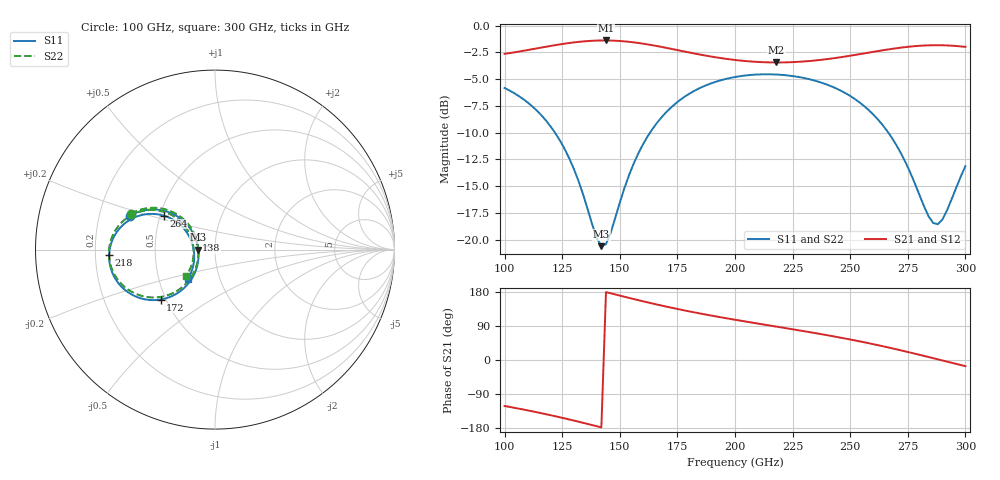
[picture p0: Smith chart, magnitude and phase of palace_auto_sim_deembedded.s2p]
! Created with skrf 1.11.0 (http://scikit-rf.org).
# GHz S DB R 50.0
!freq dBS11 angS11 dBS21 angS21 dBS12 angS12 dBS22 angS22
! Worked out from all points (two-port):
!   101 points, 100 GHz to 300 GHz, reference 50 ohm
!   highest |S21| = -1.39 dB at 144 GHz (marker M1); lowest = -3.4 dB at 218 GHz (marker M2)
!   |S21| within 3 dB of the highest: start of sweep to end of sweep
!   lowest |S11| = -20.6 dB at 142 GHz (marker M3), VSWR 1.21, Z = 41.5 + j0.0376 ohm
!   |S11| at or under -10 dB: 121.8 GHz to 163.2 GHz (41.31 GHz wide, 29 % of centre); 266.5 GHz to end of sweep
!   |S22| runs from -20.6 to -4.6 dB; largest |S21 - S12| = 8.6e-14
!   S11 on the Smith chart (normalised r, x): 100 GHz: 0.33, +0.17; 138 GHz: 0.81, +0.09; 172 GHz: 0.47, -0.31; 218 GHz: 0.26, -0.02; 264 GHz: 0.52, +0.22; 300 GHz: 0.71, -0.24
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100  -5.84 158.5  -2.64 -121.4  -2.64 -121.4  -5.84 157.1
110  -7.19 149.6  -2.29 -133.0  -2.29 -133.0  -7.19 148.0
120  -9.43 141.4  -1.90 -145.7  -1.90 -145.7  -9.44 139.7
128  -12.38 137.8  -1.63 -156.8  -1.63 -156.8  -12.39 136.0
134  -15.73 141.5  -1.49 -165.6  -1.49 -165.6  -15.74 139.6
138  -18.57 153.2  -1.42 -171.7  -1.42 -171.7  -18.58 151.1
142  -20.61 179.7  -1.39 -177.8  -1.39 -177.8  -20.64 177.7
144  -20.42 -163.7  -1.39 179.1  -1.39 179.1  -20.44 -165.7
156  -12.91 -128.2  -1.57 160.9  -1.57 160.9  -12.92 -130.3
168  -8.60 -134.1  -1.99 143.8  -1.99 143.8  -8.61 -136.4
172  -7.70 -137.5  -2.16 138.5  -2.16 138.5  -7.71 -139.9
184  -5.92 -148.3  -2.68 123.7  -2.68 123.7  -5.92 -150.9
200  -4.81 -162.4  -3.22 106.2  -3.22 106.2  -4.82 -165.1
218  -4.58 -177.2  -3.45 88.1  -3.45 88.1  -4.58 179.7
234  -5.11 169.7  -3.28 71.8  -3.28 71.8  -5.11 166.5
250  -6.58 156.6  -2.82 54.1  -2.82 54.1  -6.58 153.2
264  -9.28 146.5  -2.32 36.5  -2.32 36.5  -9.27 143.0
268  -10.46 144.8  -2.18 31.1  -2.18 31.1  -10.46 141.2
278  -14.72 148.7  -1.93 16.8  -1.93 16.8  -14.69 145.1
286  -18.44 177.7  -1.84 4.8  -1.84 4.8  -18.35 173.8
290  -18.13 -158.8  -1.84 -1.2  -1.84 -1.2  -18.04 -163.1
300  -13.13 -132.9  -1.99 -16.2  -1.99 -16.2  -13.11 -137.4
